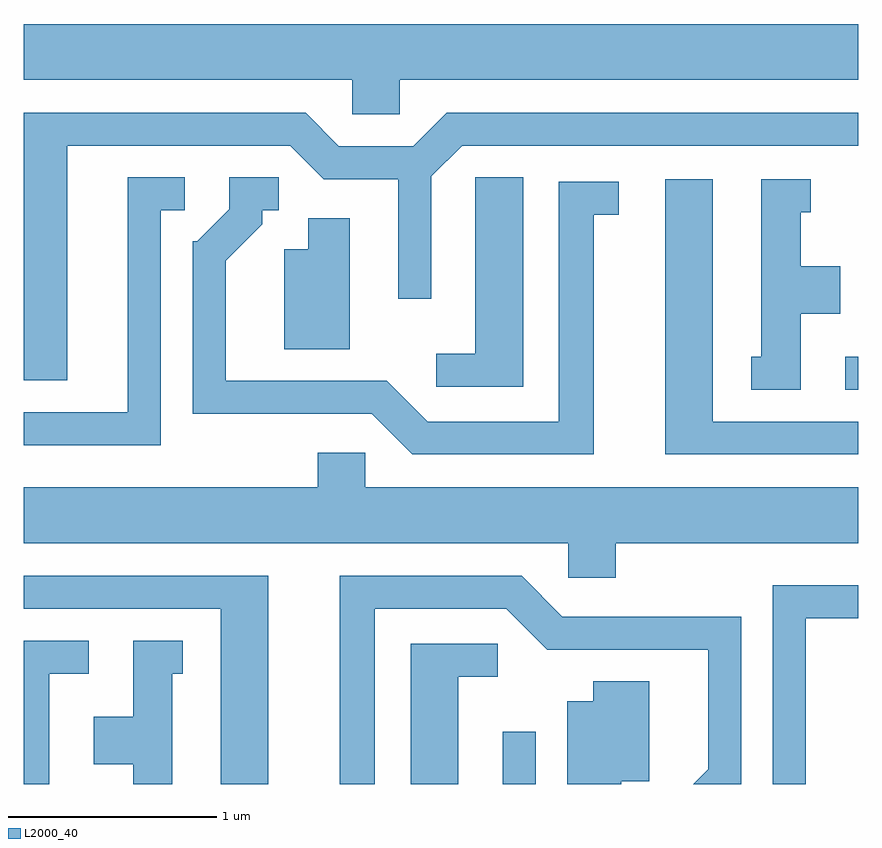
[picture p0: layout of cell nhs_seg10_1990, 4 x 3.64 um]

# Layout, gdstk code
import gdstk
lib = gdstk.Library(unit=1e-6, precision=1e-09)
def R(c, l, rs):  # rectangles x0, y0, x1, y1
    for r in rs: c.add(gdstk.rectangle(r[:2], r[2:], *l))
def P(c, l, *ps):  # polygons
    for p in ps: c.add(gdstk.Polygon(p, *l))
L2000_40 = (2000, 40)

nhs_seg10_1990 = lib.new_cell('nhs_seg10_1990')
R(nhs_seg10_1990, L2000_40, [(245.906,2130.522,246.064,2130.773), (247.548,2132.411,247.611,2132.569)])
P(nhs_seg10_1990, L2000_40, [(245.414,2133.896),(247.611,2133.896),(247.611,2134.164),(243.611,2134.164),(243.611,2133.896),(245.186,2133.896),(245.186,2133.731),(245.414,2133.731)],
  [(243.819,2133.581),(244.889,2133.581),(245.049,2133.421),(245.406,2133.421),(245.406,2132.848),(245.564,2132.848),(245.564,2133.434),(245.712,2133.581),(247.611,2133.581),(247.611,2133.739),(245.639,2133.739),(245.479,2133.579),(245.122,2133.579),(244.962,2133.739),(243.611,2133.739),(243.611,2132.456),(243.819,2132.456)],
  [(244.269,2133.271),(244.383,2133.271),(244.383,2133.429),(244.111,2133.429),(244.111,2132.304),(243.611,2132.304),(243.611,2132.146),(244.269,2132.146)],
  [(246.004,2133.429),(245.776,2133.429),(245.776,2132.584),(245.588,2132.584),(245.588,2132.426),(246.004,2132.426)],
  [(246.344,2133.251),(246.463,2133.251),(246.463,2133.409),(246.176,2133.409),(246.176,2132.259),(245.547,2132.259),(245.352,2132.454),(244.579,2132.454),(244.579,2133.029),(244.754,2133.204),(244.754,2133.271),(244.833,2133.271),(244.833,2133.429),(244.596,2133.429),(244.596,2133.277),(244.444,2133.124),(244.421,2133.124),(244.421,2132.296),(245.279,2132.296),(245.474,2132.101),(246.344,2132.101)],
  [(247.611,2132.259),(246.914,2132.259),(246.914,2133.419),(246.686,2133.419),(246.686,2132.101),(247.611,2132.101)],
  [(247.334,2132.776),(247.524,2132.776),(247.524,2133.004),(247.334,2133.004),(247.334,2133.261),(247.383,2133.261),(247.383,2133.419),(247.146,2133.419),(247.146,2132.569),(247.098,2132.569),(247.098,2132.411),(247.334,2132.411)],
  [(245.174,2133.234),(244.976,2133.234),(244.976,2133.084),(244.861,2133.084),(244.861,2132.606),(245.174,2132.606)],
  [(246.449,2131.676),(247.611,2131.676),(247.611,2131.944),(245.249,2131.944),(245.249,2132.109),(245.021,2132.109),(245.021,2131.944),(243.611,2131.944),(243.611,2131.676),(246.221,2131.676),(246.221,2131.511),(246.449,2131.511)],
  [(244.784,2131.519),(243.611,2131.519),(243.611,2131.361),(244.556,2131.361),(244.556,2130.522),(244.784,2130.522)],
  [(245.294,2131.361),(245.924,2131.361),(246.119,2131.166),(246.891,2131.166),(246.891,2130.592),(246.821,2130.522),(247.049,2130.522),(247.049,2131.324),(246.192,2131.324),(245.997,2131.519),(245.126,2131.519),(245.126,2130.522),(245.294,2130.522)],
  [(247.359,2131.316),(247.611,2131.316),(247.611,2131.474),(247.201,2131.474),(247.201,2130.522),(247.359,2130.522)],
  [(244.324,2131.051),(244.373,2131.051),(244.373,2131.209),(244.136,2131.209),(244.136,2130.844),(243.946,2130.844),(243.946,2130.616),(244.136,2130.616),(244.136,2130.522),(244.324,2130.522)],
  [(243.734,2131.051),(243.923,2131.051),(243.923,2131.209),(243.611,2131.209),(243.611,2130.522),(243.734,2130.522)],
  [(245.694,2131.036),(245.883,2131.036),(245.883,2131.194),(245.466,2131.194),(245.466,2130.522),(245.694,2130.522)],
  [(246.474,2130.536),(246.609,2130.536),(246.609,2131.014),(246.341,2131.014),(246.341,2130.919),(246.216,2130.919),(246.216,2130.522),(246.474,2130.522)])

lib.write_gds('nhs_seg10_1990.gds')
